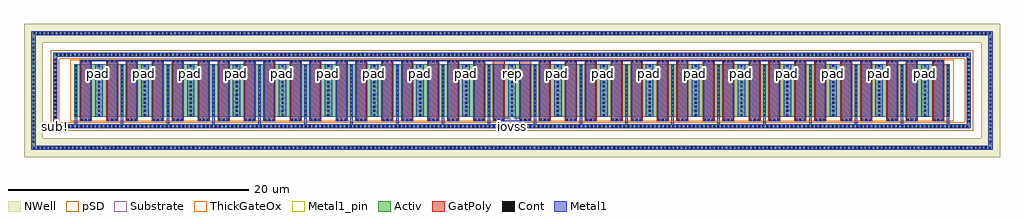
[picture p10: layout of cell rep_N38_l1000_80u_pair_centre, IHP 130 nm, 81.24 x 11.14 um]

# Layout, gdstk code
import gdstk
lib = gdstk.Library(unit=1e-6, precision=1e-09)
def R(c, l, rs):  # rectangles x0, y0, x1, y1
    for r in rs: c.add(gdstk.rectangle(r[:2], r[2:], *l))
def A(c, l, x, y, w, h, nx, ny, dx, dy):  # array of equal rectangles
    R(c, l, [(x+i*dx, y+j*dy, x+i*dx+w, y+j*dy+h) for i in range(nx) for j in range(ny)])
def P(c, l, *ps):  # polygons
    for p in ps: c.add(gdstk.Polygon(p, *l))
Activ = (1, 0)
GatPoly = (5, 0)
Cont = (6, 0)
Metal1 = (8, 0)
Metal1_pin = (8, 2)
pSD = (14, 0)
NWell = (31, 0)
Substrate = (40, 0)
ThickGateOx = (44, 0)

rep_n38_l1000_80u_pair_c = lib.new_cell('rep_N38_l1000_80u_pair_centre')
R(rep_n38_l1000_80u_pair_c, Activ, [(3.56,2.75,76.44,7.15)])
P(rep_n38_l1000_80u_pair_c, Activ, [(1.8,1.8),(1.8,7.76),(2.14,7.76),(2.14,2.14),(77.86,2.14),(77.86,7.76),(1.8,7.76),(1.8,8.1),(78.2,8.1),(78.2,1.8)],
  [(0,0),(0,9.56),(0.34,9.56),(0.34,0.34),(79.66,0.34),(79.66,9.56),(0,9.56),(0,9.9),(80,9.9),(80,0)])
R(rep_n38_l1000_80u_pair_c, GatPoly, [(4.03,2.38,5.03,7.52), (6.21,2.38,7.21,7.52), (7.85,2.38,8.85,7.52), (10.03,2.38,11.03,7.52), (11.67,2.38,12.67,7.52), (13.85,2.38,14.85,7.52), (15.49,2.38,16.49,7.52), (17.67,2.38,18.67,7.52), (19.31,2.38,20.31,7.52), (21.49,2.38,22.49,7.52), (23.13,2.38,24.13,7.52), (25.31,2.38,26.31,7.52), (26.95,2.38,27.95,7.52), (29.13,2.38,30.13,7.52), (30.77,2.38,31.77,7.52), (32.95,2.38,33.95,7.52), (34.59,2.38,35.59,7.52), (36.77,2.38,37.77,7.52), (38.41,2.38,39.41,7.52), (40.59,2.38,41.59,7.52), (42.23,2.38,43.23,7.52), (44.41,2.38,45.41,7.52), (46.05,2.38,47.05,7.52), (48.23,2.38,49.23,7.52), (49.87,2.38,50.87,7.52), (52.05,2.38,53.05,7.52), (53.69,2.38,54.69,7.52), (55.87,2.38,56.87,7.52), (57.51,2.38,58.51,7.52), (59.69,2.38,60.69,7.52), (61.33,2.38,62.33,7.52), (63.51,2.38,64.51,7.52), (65.15,2.38,66.15,7.52), (67.33,2.38,68.33,7.52), (68.97,2.38,69.97,7.52), (71.15,2.38,72.15,7.52), (72.79,2.38,73.79,7.52), (74.97,2.38,75.97,7.52)])
A(rep_n38_l1000_80u_pair_c, Cont, 0.14, 0.09, 0.16, 0.16, 235, 2, 0.34, 9.56)
A(rep_n38_l1000_80u_pair_c, Cont, 0.09, 0.62, 0.16, 0.16, 1, 26, 0, 0.34)
A(rep_n38_l1000_80u_pair_c, Cont, 79.75, 0.62, 0.16, 0.16, 1, 26, 0, 0.34)
A(rep_n38_l1000_80u_pair_c, Cont, 2.01, 1.89, 0.16, 0.16, 224, 2, 0.34, 5.96)
A(rep_n38_l1000_80u_pair_c, Cont, 1.89, 2.32, 0.16, 0.16, 1, 16, 0, 0.34)
A(rep_n38_l1000_80u_pair_c, Cont, 77.95, 2.32, 0.16, 0.16, 1, 16, 0, 0.34)
A(rep_n38_l1000_80u_pair_c, Cont, 4.11, 2.45, 0.16, 0.16, 3, 2, 0.34, 4.84)
A(rep_n38_l1000_80u_pair_c, Cont, 6.29, 2.45, 0.16, 0.16, 3, 2, 0.34, 4.84)
A(rep_n38_l1000_80u_pair_c, Cont, 7.93, 2.45, 0.16, 0.16, 3, 2, 0.34, 4.84)
A(rep_n38_l1000_80u_pair_c, Cont, 10.11, 2.45, 0.16, 0.16, 3, 2, 0.34, 4.84)
A(rep_n38_l1000_80u_pair_c, Cont, 11.75, 2.45, 0.16, 0.16, 3, 2, 0.34, 4.84)
A(rep_n38_l1000_80u_pair_c, Cont, 13.93, 2.45, 0.16, 0.16, 3, 2, 0.34, 4.84)
A(rep_n38_l1000_80u_pair_c, Cont, 15.57, 2.45, 0.16, 0.16, 3, 2, 0.34, 4.84)
A(rep_n38_l1000_80u_pair_c, Cont, 17.75, 2.45, 0.16, 0.16, 3, 2, 0.34, 4.84)
A(rep_n38_l1000_80u_pair_c, Cont, 19.39, 2.45, 0.16, 0.16, 3, 2, 0.34, 4.84)
A(rep_n38_l1000_80u_pair_c, Cont, 21.57, 2.45, 0.16, 0.16, 3, 2, 0.34, 4.84)
A(rep_n38_l1000_80u_pair_c, Cont, 23.21, 2.45, 0.16, 0.16, 3, 2, 0.34, 4.84)
A(rep_n38_l1000_80u_pair_c, Cont, 25.39, 2.45, 0.16, 0.16, 3, 2, 0.34, 4.84)
A(rep_n38_l1000_80u_pair_c, Cont, 27.03, 2.45, 0.16, 0.16, 3, 2, 0.34, 4.84)
A(rep_n38_l1000_80u_pair_c, Cont, 29.21, 2.45, 0.16, 0.16, 3, 2, 0.34, 4.84)
A(rep_n38_l1000_80u_pair_c, Cont, 30.85, 2.45, 0.16, 0.16, 3, 2, 0.34, 4.84)
A(rep_n38_l1000_80u_pair_c, Cont, 33.03, 2.45, 0.16, 0.16, 3, 2, 0.34, 4.84)
A(rep_n38_l1000_80u_pair_c, Cont, 34.67, 2.45, 0.16, 0.16, 3, 2, 0.34, 4.84)
A(rep_n38_l1000_80u_pair_c, Cont, 36.85, 2.45, 0.16, 0.16, 3, 2, 0.34, 4.84)
A(rep_n38_l1000_80u_pair_c, Cont, 38.49, 2.45, 0.16, 0.16, 3, 1, 0.34, 0)
A(rep_n38_l1000_80u_pair_c, Cont, 40.67, 2.45, 0.16, 0.16, 3, 1, 0.34, 0)
A(rep_n38_l1000_80u_pair_c, Cont, 42.31, 2.45, 0.16, 0.16, 3, 2, 0.34, 4.84)
A(rep_n38_l1000_80u_pair_c, Cont, 44.49, 2.45, 0.16, 0.16, 3, 2, 0.34, 4.84)
A(rep_n38_l1000_80u_pair_c, Cont, 46.13, 2.45, 0.16, 0.16, 3, 2, 0.34, 4.84)
A(rep_n38_l1000_80u_pair_c, Cont, 48.31, 2.45, 0.16, 0.16, 3, 2, 0.34, 4.84)
A(rep_n38_l1000_80u_pair_c, Cont, 49.95, 2.45, 0.16, 0.16, 3, 2, 0.34, 4.84)
A(rep_n38_l1000_80u_pair_c, Cont, 52.13, 2.45, 0.16, 0.16, 3, 2, 0.34, 4.84)
A(rep_n38_l1000_80u_pair_c, Cont, 53.77, 2.45, 0.16, 0.16, 3, 2, 0.34, 4.84)
A(rep_n38_l1000_80u_pair_c, Cont, 55.95, 2.45, 0.16, 0.16, 3, 2, 0.34, 4.84)
A(rep_n38_l1000_80u_pair_c, Cont, 57.59, 2.45, 0.16, 0.16, 3, 2, 0.34, 4.84)
A(rep_n38_l1000_80u_pair_c, Cont, 59.77, 2.45, 0.16, 0.16, 3, 2, 0.34, 4.84)
A(rep_n38_l1000_80u_pair_c, Cont, 61.41, 2.45, 0.16, 0.16, 3, 2, 0.34, 4.84)
A(rep_n38_l1000_80u_pair_c, Cont, 63.59, 2.45, 0.16, 0.16, 3, 2, 0.34, 4.84)
A(rep_n38_l1000_80u_pair_c, Cont, 65.23, 2.45, 0.16, 0.16, 3, 2, 0.34, 4.84)
A(rep_n38_l1000_80u_pair_c, Cont, 67.41, 2.45, 0.16, 0.16, 3, 2, 0.34, 4.84)
A(rep_n38_l1000_80u_pair_c, Cont, 69.05, 2.45, 0.16, 0.16, 3, 2, 0.34, 4.84)
A(rep_n38_l1000_80u_pair_c, Cont, 71.23, 2.45, 0.16, 0.16, 3, 2, 0.34, 4.84)
A(rep_n38_l1000_80u_pair_c, Cont, 72.87, 2.45, 0.16, 0.16, 3, 2, 0.34, 4.84)
A(rep_n38_l1000_80u_pair_c, Cont, 75.05, 2.45, 0.16, 0.16, 3, 2, 0.34, 4.84)
A(rep_n38_l1000_80u_pair_c, Cont, 3.63, 2.83, 0.16, 0.16, 39, 13, 1.91, 0.34)
A(rep_n38_l1000_80u_pair_c, Metal1, 3.605, 1.8, 0.21, 5.35, 20, 1, 3.82, 0)
A(rep_n38_l1000_80u_pair_c, Metal1, 5.31, 2.75, 0.62, 4.4, 9, 1, 3.82, 0)
A(rep_n38_l1000_80u_pair_c, Metal1, 43.51, 2.75, 0.62, 4.4, 9, 1, 3.82, 0)
R(rep_n38_l1000_80u_pair_c, Metal1, [(4.11,2.37,4.95,7.37), (6.29,2.37,7.13,7.37), (7.93,2.37,8.77,7.37), (10.11,2.37,10.95,7.37), (11.75,2.37,12.59,7.37), (13.93,2.37,14.77,7.37), (15.57,2.37,16.41,7.37), (17.75,2.37,18.59,7.37), (19.39,2.37,20.23,7.37), (21.57,2.37,22.41,7.37), (23.21,2.37,24.05,7.37), (25.39,2.37,26.23,7.37), (27.03,2.37,27.87,7.37), (29.21,2.37,30.05,7.37), (30.85,2.37,31.69,7.37), (33.03,2.37,33.87,7.37), (34.67,2.37,35.51,7.37), (36.85,2.37,37.69,7.37), (38.49,2.37,39.33,7.15), (38.49,2.37,41.51,2.69), (39.69,2.37,40.31,7.15), (40.67,2.37,41.51,7.15), (42.31,2.37,43.15,7.37), (44.49,2.37,45.33,7.37), (46.13,2.37,46.97,7.37), (48.31,2.37,49.15,7.37), (49.95,2.37,50.79,7.37), (52.13,2.37,52.97,7.37), (53.77,2.37,54.61,7.37), (55.95,2.37,56.79,7.37), (57.59,2.37,58.43,7.37), (59.77,2.37,60.61,7.37), (61.41,2.37,62.25,7.37), (63.59,2.37,64.43,7.37), (65.23,2.37,66.07,7.37), (67.41,2.37,68.25,7.37), (69.05,2.37,69.89,7.37), (71.23,2.37,72.07,7.37), (72.87,2.37,73.71,7.37), (75.05,2.37,75.89,7.37), (4.11,7.37,75.89,7.53)])
P(rep_n38_l1000_80u_pair_c, Metal1, [(1.8,1.8),(1.8,7.76),(2.14,7.76),(2.14,2.14),(77.86,2.14),(77.86,7.76),(1.8,7.76),(1.8,8.1),(78.2,8.1),(78.2,1.8)],
  [(0,0),(0,9.56),(0.34,9.56),(0.34,0.34),(79.66,0.34),(79.66,9.56),(0,9.56),(0,9.9),(80,9.9),(80,0)])
A(rep_n38_l1000_80u_pair_c, Metal1_pin, 5.31, 2.75, 0.62, 4.4, 9, 1, 3.82, 0)
A(rep_n38_l1000_80u_pair_c, Metal1_pin, 43.51, 2.75, 0.62, 4.4, 9, 1, 3.82, 0)
R(rep_n38_l1000_80u_pair_c, Metal1_pin, [(1.8,1.8,78.2,2.14), (39.69,2.37,40.31,7.15), (4.11,7.37,75.89,7.53)])
P(rep_n38_l1000_80u_pair_c, pSD, [(1.62,1.62),(1.62,7.58),(2.32,7.58),(2.32,2.32),(77.68,2.32),(77.68,7.58),(1.62,7.58),(1.62,8.28),(78.38,8.28),(78.38,1.62)])
P(rep_n38_l1000_80u_pair_c, NWell, [(-0.62,-0.62),(-0.62,8.94),(0.96,8.94),(0.96,0.96),(79.04,0.96),(79.04,8.94),(-0.62,8.94),(-0.62,10.52),(80.62,10.52),(80.62,-0.62)])
P(rep_n38_l1000_80u_pair_c, Substrate, [(1.8,1.8),(1.8,7.76),(2.14,7.76),(2.14,2.14),(77.86,2.14),(77.86,7.76),(1.8,7.76),(1.8,8.1),(78.2,8.1),(78.2,1.8)])
R(rep_n38_l1000_80u_pair_c, ThickGateOx, [(3.22,2.41,76.78,7.49)])
rep_n38_l1000_80u_pair_c.add(gdstk.Label('pad', (5.62,6.328), layer=8, texttype=25))
rep_n38_l1000_80u_pair_c.add(gdstk.Label('pad', (9.44,6.328), layer=8, texttype=25))
rep_n38_l1000_80u_pair_c.add(gdstk.Label('pad', (13.26,6.328), layer=8, texttype=25))
rep_n38_l1000_80u_pair_c.add(gdstk.Label('pad', (17.08,6.328), layer=8, texttype=25))
rep_n38_l1000_80u_pair_c.add(gdstk.Label('pad', (20.9,6.328), layer=8, texttype=25))
rep_n38_l1000_80u_pair_c.add(gdstk.Label('pad', (24.72,6.328), layer=8, texttype=25))
rep_n38_l1000_80u_pair_c.add(gdstk.Label('pad', (28.54,6.328), layer=8, texttype=25))
rep_n38_l1000_80u_pair_c.add(gdstk.Label('pad', (32.36,6.328), layer=8, texttype=25))
rep_n38_l1000_80u_pair_c.add(gdstk.Label('pad', (36.18,6.328), layer=8, texttype=25))
rep_n38_l1000_80u_pair_c.add(gdstk.Label('rep', (40,6.328), layer=8, texttype=25))
rep_n38_l1000_80u_pair_c.add(gdstk.Label('pad', (43.82,6.328), layer=8, texttype=25))
rep_n38_l1000_80u_pair_c.add(gdstk.Label('pad', (47.64,6.328), layer=8, texttype=25))
rep_n38_l1000_80u_pair_c.add(gdstk.Label('pad', (51.46,6.328), layer=8, texttype=25))
rep_n38_l1000_80u_pair_c.add(gdstk.Label('pad', (55.28,6.328), layer=8, texttype=25))
rep_n38_l1000_80u_pair_c.add(gdstk.Label('pad', (59.1,6.328), layer=8, texttype=25))
rep_n38_l1000_80u_pair_c.add(gdstk.Label('pad', (62.92,6.328), layer=8, texttype=25))
rep_n38_l1000_80u_pair_c.add(gdstk.Label('pad', (66.74,6.328), layer=8, texttype=25))
rep_n38_l1000_80u_pair_c.add(gdstk.Label('pad', (70.56,6.328), layer=8, texttype=25))
rep_n38_l1000_80u_pair_c.add(gdstk.Label('pad', (74.38,6.328), layer=8, texttype=25))
rep_n38_l1000_80u_pair_c.add(gdstk.Label('gate', (40,7.45), layer=8, texttype=25))
rep_n38_l1000_80u_pair_c.add(gdstk.Label('iovss', (40,1.97), layer=8, texttype=25))
rep_n38_l1000_80u_pair_c.add(gdstk.Label('sub!', (1.97,1.97), layer=63, texttype=0))

lib.write_gds('rep_N38_l1000_80u_pair_centre.gds')
